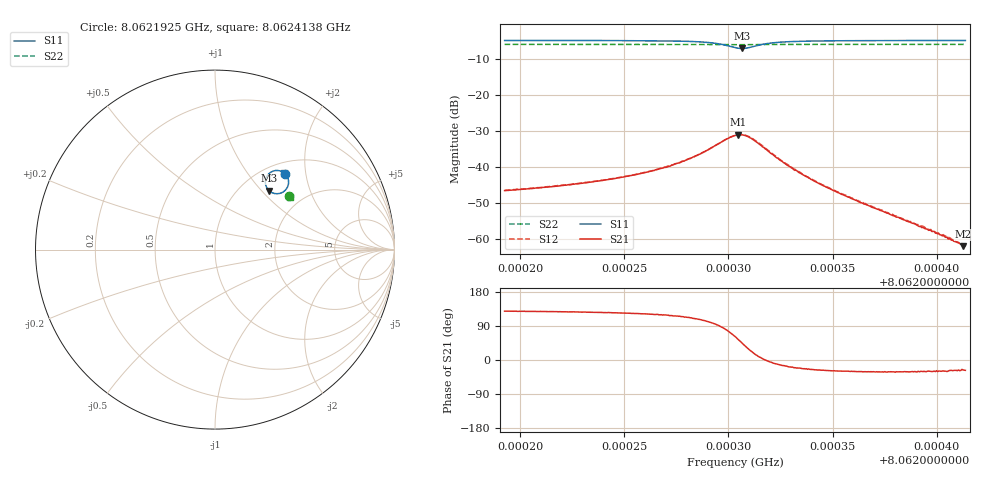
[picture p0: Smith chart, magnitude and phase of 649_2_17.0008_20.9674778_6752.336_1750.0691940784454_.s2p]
#  HZ  S  RI  R  50.00
! Rohde & Schwarz Vector Network Analyzer
! Rohde-Schwarz,ZNB20-2Port,1311601062101988,3.16
! Created: UTC 3/20/2024, 11:21:10 PM
! freq[Hz]  re:S11  im:S11  re:S21  im:S21  re:S12  im:S12  re:S22  im:S22
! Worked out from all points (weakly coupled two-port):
!   401 points, 8.0621925 GHz to 8.0624138 GHz, reference 50 ohm
!   highest |S21| = -30.93 dB at 8.0623048 GHz (marker M1); lowest = -61.9 dB at 8.0624127 GHz (marker M2)
!   lowest |S11| = -7.0 dB at 8.0623065 GHz (marker M3), VSWR 2.61, Z = 67.2 + j55.1 ohm
!   |S11| at or under -10 dB: nowhere
!   |S22| runs from -6.0 to -5.9 dB; largest |S21 - S12| = 0.0013
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8.0621925e9  0.3912 0.4223  -0.00298 0.00371  -0.0028 0.00388  0.4099 0.3009
8.06222957e9  0.397 0.4154  -0.00357 0.00485  -0.0033 0.00506  0.4114 0.299
8.06224838e9  0.4009 0.4096  -0.00407 0.00601  -0.00371 0.0063  0.412 0.2976
8.06226664e9  0.406 0.3987  -0.00464 0.00831  -0.00419 0.00857  0.4127 0.2962
8.06227107e9  0.4073 0.3944  -0.00484 0.00902  -0.00436 0.00954  0.4128 0.2959
8.06227937e9  0.4096 0.3831  -0.00496 0.0115  -0.00426 0.0118  0.413 0.295
8.06228656e9  0.4095 0.3672  -0.00435 0.0148  -0.00361 0.0149  0.4131 0.2939
8.0622921e9  0.4037 0.3483  -0.00254 0.0187  -0.00163 0.0187  0.4128 0.2929
8.06229763e9  0.3836 0.324  0.00225 0.0234  0.0035 0.0232  0.4118 0.2919
8.06230316e9  0.3355 0.312  0.013 0.0245  0.014 0.0241  0.4098 0.2917
8.06230482e9  0.3175 0.3174  0.0168 0.0229  0.0178 0.0222  0.4092 0.2922
8.06230648e9  0.3013 0.3285  0.02 0.02  0.0208 0.0194  0.4086 0.2927
8.06231091e9  0.2804 0.3727  0.0233 0.0101  0.024 0.00929  0.4084 0.2946
8.06231921e9  0.3049 0.4269  0.0167 -0.000993  0.017 -0.00191  0.4106 0.2963
8.06232474e9  0.3244 0.4376  0.0123 -0.00282  0.0124 -0.00359  0.4116 0.2962
8.06233083e9  0.3394 0.4407  0.00916 -0.00308  0.00902 -0.00375  0.4125 0.2958
8.06234023e9  0.3541 0.4403  0.00607 -0.00284  0.006 -0.00328  0.4135 0.2952
8.06235351e9  0.3656 0.4377  0.00381 -0.0021  0.00374 -0.00236  0.4143 0.2944
8.06237731e9  0.3762 0.4333  0.00193 -0.00117  0.00187 -0.00131  0.4155 0.2926
8.06240442e9  0.3824 0.4296  0.000932 -0.000525  0.000948 -0.000592  0.4166 0.2912
8.06241272e9  0.3838 0.4286  0.000723 -0.000358  0.000736 -0.000438  0.4169 0.2908
8.06241383e9  0.384 0.4285  0.000727 -0.000374  0.000704 -0.00041  0.417 0.2908
